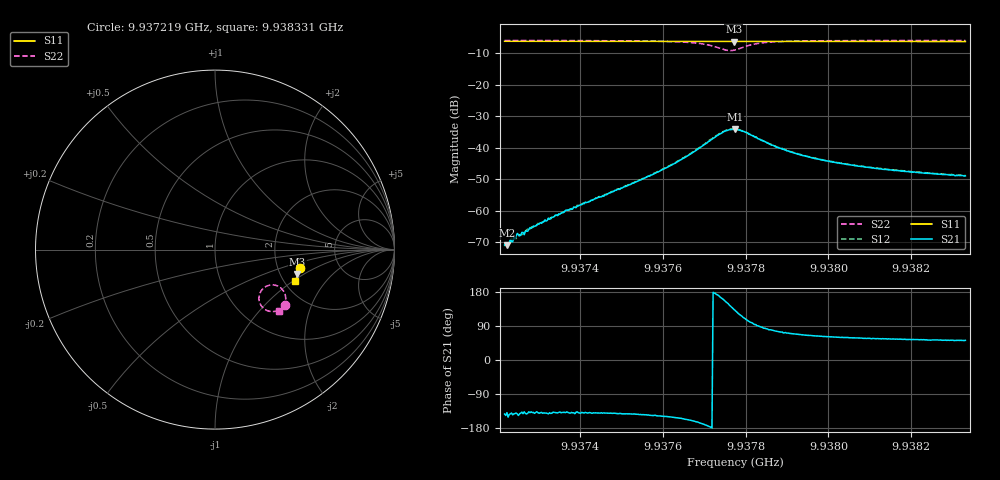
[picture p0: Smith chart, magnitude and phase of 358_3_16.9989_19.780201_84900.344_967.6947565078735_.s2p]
#  HZ  S  RI  R  50.00
! Rohde & Schwarz Vector Network Analyzer
! Rohde-Schwarz,ZNB20-2Port,1311601062101988,3.16
! Created: UTC 3/20/2024, 11:08:07 PM
! freq[Hz]  re:S11  im:S11  re:S21  im:S21  re:S12  im:S12  re:S22  im:S22
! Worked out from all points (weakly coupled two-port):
!   401 points, 9.937219 GHz to 9.938331 GHz, reference 50 ohm
!   highest |S21| = -34.19 dB at 9.937775 GHz (marker M1); lowest = -70.9 dB at 9.937224 GHz (marker M2)
!   lowest |S11| = -6.4 dB at 9.937772 GHz (marker M3), VSWR 2.84, Z = 124 - j44.2 ohm
!   |S11| at or under -10 dB: nowhere
!   |S22| runs from -9.3 to -6.0 dB; largest |S21 - S12| = 0.00078
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9.9372186e9  0.4727 -0.1029  -0.000229 -0.000175  -0.000214 -0.000173  0.3891 -0.3113
9.9372241e9  0.4727 -0.1032  -0.000215 -0.000188  -0.000237 -0.000167  0.3888 -0.3118
9.9372408e9  0.4723 -0.1043  -0.0003 -0.000233  -0.00027 -0.000239  0.3876 -0.3129
9.9372464e9  0.4722 -0.1047  -0.000307 -0.000258  -0.000282 -0.000226  0.3873 -0.3132
9.9372603e9  0.472 -0.1057  -0.000336 -0.000307  -0.000329 -0.000257  0.3862 -0.314
9.9372797e9  0.4716 -0.107  -0.000409 -0.000356  -0.000411 -0.000306  0.3848 -0.3156
9.9373381e9  0.4704 -0.1109  -0.000602 -0.00054  -0.000639 -0.000527  0.3802 -0.3199
9.9374049e9  0.4689 -0.1153  -0.000928 -0.000834  -0.000952 -0.000836  0.3741 -0.3249
9.9375911e9  0.4648 -0.1279  -0.00352 -0.00227  -0.00364 -0.00223  0.3428 -0.3417
9.9376579e9  0.4629 -0.1323  -0.00668 -0.00287  -0.00684 -0.00279  0.3139 -0.3452
9.9377024e9  0.4613 -0.1352  -0.0112 -0.00177  -0.0115 -0.00162  0.2775 -0.3326
9.9377413e9  0.4597 -0.1371  -0.0162 0.00463  -0.0165 0.00505  0.245 -0.2762
9.9377552e9  0.4594 -0.1375  -0.0164 0.00897  -0.0165 0.00972  0.2508 -0.2418
9.9377719e9  0.4589 -0.1377  -0.0134 0.014  -0.0134 0.0147  0.2804 -0.2074
9.9377747e9  0.4591 -0.138  -0.0128 0.0147  -0.0126 0.0154  0.287 -0.2037
9.9377997e9  0.4594 -0.1392  -0.00552 0.0167  -0.00509 0.0169  0.3456 -0.2013
9.937833e9  0.4592 -0.1416  0.000267 0.0137  0.000535 0.0138  0.3843 -0.2347
9.937897e9  0.4582 -0.1461  0.00272 0.0087  0.00309 0.00866  0.3935 -0.2805
9.9379609e9  0.4566 -0.1505  0.003 0.0062  0.00316 0.00623  0.3881 -0.3024
9.9380471e9  0.4543 -0.1562  0.00276 0.00466  0.00291 0.00462  0.3797 -0.3182
9.9381472e9  0.4517 -0.1628  0.00252 0.00367  0.00263 0.00367  0.3712 -0.33
9.9383308e9  0.4466 -0.1745  0.00221 0.0028  0.00231 0.00281  0.3583 -0.3446
